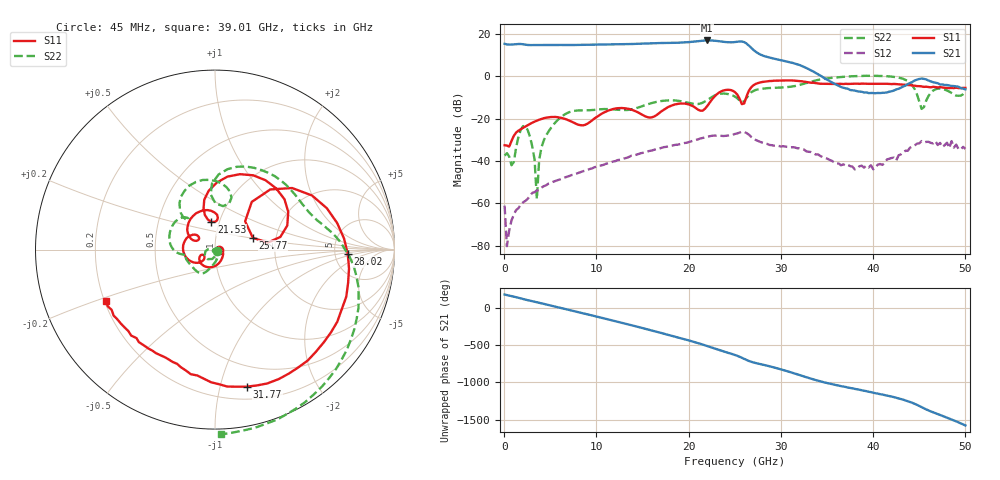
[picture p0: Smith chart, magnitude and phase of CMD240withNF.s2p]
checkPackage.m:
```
%% Verify the shared Antenna-to-Bits workflow package

packageRoot = fileparts(mfilename("fullpath"));
addpath(packageRoot);
addpath(fullfile(packageRoot, "helpers"));

productName = [ ...
    "RF Toolbox"
    "Antenna Toolbox"
    "Simulink"
    "5G Toolbox (waveform and EVM reruns)"];
isLicensed = [ ...
    exist("rfbudget", "file") == 2
    exist("dipole", "file") == 2
    license("test", "Simulink")
    exist("nrCarrierConfig", "file") == 2];

requiredFile = [ ...
    fullfile(packageRoot, "Agentic AI Antenna-to-bits Reference Chain.docx")
    fullfile(packageRoot, "Antenna2BitsDemoLive.pdf")
    fullfile(packageRoot, "build12GHzTransmitterRFBudget.m")
    fullfile(packageRoot, "buildReferenceRFBudgetAnalyzer.m")
    fullfile(packageRoot, "helpers", "CMD240withNF.s2p")
    fullfile(packageRoot, "helpers", "WilkinsonSplitterData.mat")
    fullfile(packageRoot, "RF_TX_Model.slx")
    fullfile(packageRoot, "RF_TX_Model8.slx")
    fullfile(packageRoot, "RF_TX_Model_MN.slx")
    fullfile(packageRoot, "openBaselineModel.m")
    fullfile(packageRoot, "openResolutionModel.m")
    fullfile(packageRoot, "openMatchingNetworkModel.m")];
fileAvailable = isfile(requiredFile);

fprintf("Product check:\n");
disp(table(productName, isLicensed, VariableNames=["Product", "Licensed"]));
fprintf("Workflow-asset check:\n");
disp(table(requiredFile, fileAvailable, ...
    VariableNames=["File", "Available"]));

if ~all(isLicensed(1:3))
    error("RF Toolbox, Antenna Toolbox, and Simulink are required.");
end
if ~all(fileAvailable)
    error("The package is incomplete. Re-extract the shared-workflow ZIP.");
end
if ~isLicensed(4)
    warning("5G Toolbox is unavailable. The budget and models can be inspected, " + ...
        "but the NR waveform and EVM workflow cannot be rerun.");
end
```
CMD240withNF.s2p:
# GHz S RI R 50
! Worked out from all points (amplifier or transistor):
!   201 points, 45 MHz to 50 GHz, reference 50 ohm
!   highest |S21| = 17.0 dB at 22.03 GHz (marker M1)
!   |S21| within 3 dB of that: start of sweep to 26.66 GHz
!   unconditionally stable (mu >= 1): start of sweep to 37.12 GHz; 41.81 GHz to end of sweep
!   at 8.288 GHz: K = 16.05, MAG = 15.0 dB, |S12| = -45.2 dB
!   at 25.02 GHz: K = 1.48, MAG = 17.6 dB, |S12| = -27.2 dB
!   at 50 GHz: K = 30.69, MAG = -3.8 dB, |S12| = -34.3 dB
!   lowest NFmin = 1.80 dB at 8 GHz
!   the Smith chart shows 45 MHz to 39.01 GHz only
!   S11 on the Smith chart (normalised r, x): 45 MHz: 1.05, -0.00; 21.53 GHz: 0.92, +0.29; 25.77 GHz: 1.52, +0.21; 28.02 GHz: 6.62, -0.68; 31.77 GHz: 0.31, -1.21; 39.01 GHz: 0.21, -0.21
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0.045  0.0236 -0.00218  -5.864 0.2441  -0.000436 -0.000772  0.00881 -0.0101
12.53375  -0.1784 0.00687  -5.533 1.44  -0.0103 0.00324  -0.1573 -0.0356
17.77903  -0.1547 0.109  6.16 -0.3081  0.0217 0.00468  -0.2456 0.1137
21.52565  -0.0197 0.1541  -4.766 -5.073  -0.0116 -0.0332  -0.1668 0.1716
22.0252  -0.0565 0.193  -6.303 -3.165  -0.0234 -0.0298  -0.1899 0.2032
25.27227  0.3641 0.0705  1.583 6.379  -0.0118 0.0434  0.0917 0.2888
25.77182  0.2106 0.0661  4.288 5.103  0.00907 0.0486  0.0449 0.242
28.0198  0.7397 -0.0233  2.313 -2.086  0.0268 -0.00388  0.2582 0.443
31.76642  0.1783 -0.7636  -1.903 -0.2775  -0.00638 -0.0191  0.5908 0.146
39.0099  -0.6076 -0.2853  0.3541 -0.2205  0.00578 0.00396  0.0335 -1.03
50  0.0684 0.5299  -0.3644 -0.3338  0.0181 -0.00673  -0.2507 -0.3443
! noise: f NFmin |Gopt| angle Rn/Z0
2  4  0  0  37.5
4  2.9  0  0  23.75
6  2.2  0  0  15
8  1.8  0  0  10
10  2.2  0  0  15
12  2  0  0  12.5
14  2.1  0  0  13.75
16  2.3  0  0  16.25
18  2.4  0  0  17.5
22  3.7  0  0  33.75
